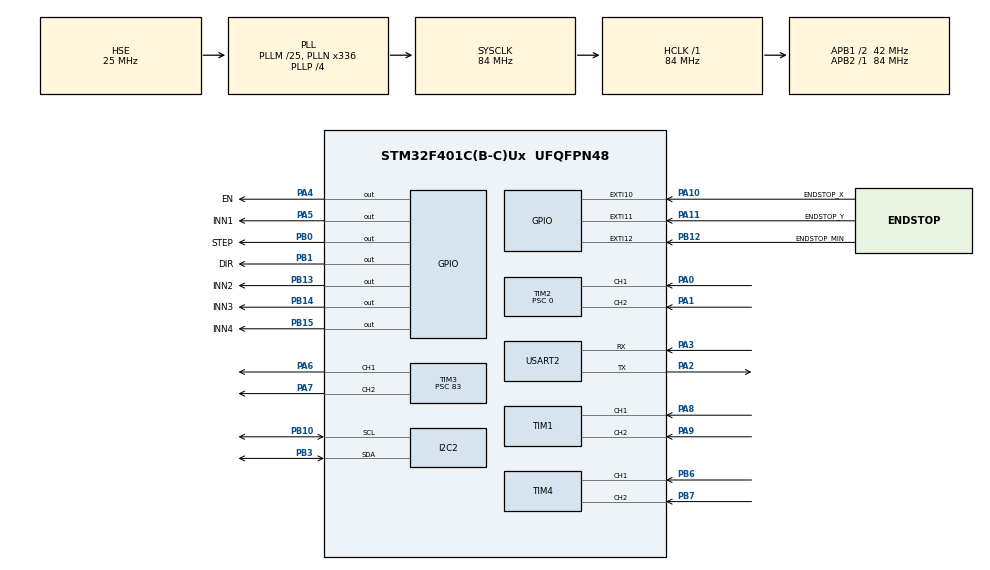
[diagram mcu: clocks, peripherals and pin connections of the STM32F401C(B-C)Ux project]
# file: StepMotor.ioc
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Dma.Request0=USART2_TX
Dma.USART2_TX.0.Direction=DMA_MEMORY_TO_PERIPH
Dma.USART2_TX.0.FIFOMode=DMA_FIFOMODE_DISABLE
Dma.USART2_TX.0.Instance=DMA1_Stream6
Dma.USART2_TX.0.MemDataAlignment=DMA_MDATAALIGN_BYTE
Dma.USART2_TX.0.MemInc=DMA_MINC_ENABLE
Dma.USART2_TX.0.Mode=DMA_NORMAL
Dma.USART2_TX.0.PeriphDataAlignment=DMA_PDATAALIGN_BYTE
Dma.USART2_TX.0.PeriphInc=DMA_PINC_DISABLE
Dma.USART2_TX.0.Priority=DMA_PRIORITY_HIGH
FREERTOS.Tasks01=defaultTask,24,128,StartDefaultTask,As weak,NULL,Dynamic,NULL,NULL;controlTask,24,512,StartControlTask,As external,NULL,Dynamic,NULL,NULL
Mcu.Family=STM32F4
Mcu.Name=STM32F401C(B-C)Ux
Mcu.Package=UFQFPN48
NVIC.DMA1_Stream6_IRQn=true\:5\:0\:false\:false\:true\:true\:false\:true\:true
NVIC.EXTI15_10_IRQn=true\:5\:0\:false\:false\:true\:true\:true\:true\:true
NVIC.PriorityGroup=NVIC_PRIORITYGROUP_4
NVIC.TIM2_IRQn=true\:5\:0\:false\:false\:true\:true\:true\:true\:true
NVIC.TIM5_IRQn=true\:5\:0\:false\:false\:true\:true\:true\:true\:true
NVIC.USART2_IRQn=true\:5\:0\:false\:false\:true\:true\:true\:true\:true
PA0-WKUP.Signal=S_TIM2_CH1_ETR
PA1.Signal=S_TIM2_CH2
PA10.GPIO_Label=ENDSTOP_X
PA10.GPIO_ModeDefaultEXTI=GPIO_MODE_IT_RISING_FALLING
PA10.GPIO_PuPd=GPIO_PULLUP
PA10.Signal=GPXTI10
PA11.GPIO_Label=ENDSTOP_Y
PA11.GPIO_ModeDefaultEXTI=GPIO_MODE_IT_RISING_FALLING
PA11.GPIO_PuPd=GPIO_PULLUP
PA11.Signal=GPXTI11
PA13.Mode=Serial_Wire
PA13.Signal=SYS_JTMS-SWDIO
PA14.Mode=Serial_Wire
PA14.Signal=SYS_JTCK-SWCLK
PA2.Mode=Asynchronous
PA2.Signal=USART2_TX
PA3.Mode=Asynchronous
PA3.Signal=USART2_RX
PA4.GPIO_Label=EN
PA4.GPIO_Speed=GPIO_SPEED_FREQ_VERY_HIGH
PA4.PinState=GPIO_PIN_SET
PA4.Signal=GPIO_Output
PA5.GPIO_Label=INN1
PA5.GPIO_Speed=GPIO_SPEED_FREQ_VERY_HIGH
PA5.Signal=GPIO_Output
PA6.Signal=S_TIM3_CH1
PA7.Signal=S_TIM3_CH2
PA8.Signal=S_TIM1_CH1
PA9.Signal=S_TIM1_CH2
PB0.GPIO_Label=STEP
PB0.GPIO_Speed=GPIO_SPEED_FREQ_VERY_HIGH
PB0.Signal=GPIO_Output
PB1.GPIO_Label=DIR
PB1.GPIO_Speed=GPIO_SPEED_FREQ_VERY_HIGH
PB1.Signal=GPIO_Output
PB10.Mode=I2C
PB10.Signal=I2C2_SCL
PB12.GPIO_Label=ENDSTOP_MIN
PB12.GPIO_ModeDefaultEXTI=GPIO_MODE_IT_RISING_FALLING
PB12.GPIO_PuPd=GPIO_PULLUP
PB12.Signal=GPXTI12
PB13.GPIO_Label=INN2
PB13.GPIO_Speed=GPIO_SPEED_FREQ_VERY_HIGH
PB13.Signal=GPIO_Output
PB14.GPIO_Label=INN3
PB14.GPIO_Speed=GPIO_SPEED_FREQ_VERY_HIGH
PB14.Signal=GPIO_Output
PB15.GPIO_Label=INN4
PB15.GPIO_Speed=GPIO_SPEED_FREQ_VERY_HIGH
PB15.PinState=GPIO_PIN_RESET
PB15.Signal=GPIO_Output
PB3.Mode=I2C
PB3.Signal=I2C2_SDA
PB6.Signal=S_TIM4_CH1
PB7.Signal=S_TIM4_CH2
PH0\ -\ OSC_IN.Mode=HSE-External-Oscillator
PH0\ -\ OSC_IN.Signal=RCC_OSC_IN
PH1\ -\ OSC_OUT.Mode=HSE-External-Oscillator
PH1\ -\ OSC_OUT.Signal=RCC_OSC_OUT
ProjectManager.HeapSize=0x200
ProjectManager.StackSize=0x400
ProjectManager.TargetToolchain=STM32CubeIDE
RCC.48MHZClocksFreq_Value=84000000
RCC.AHBFreq_Value=84000000
RCC.APB1CLKDivider=RCC_HCLK_DIV2
RCC.APB1Freq_Value=42000000
RCC.APB1TimFreq_Value=84000000
RCC.APB2Freq_Value=84000000
RCC.APB2TimFreq_Value=84000000
RCC.CortexFreq_Value=84000000
RCC.HCLKFreq_Value=84000000
RCC.HSE_VALUE=25000000
RCC.HSI_VALUE=16000000
RCC.LSE_VALUE=32768
RCC.PLLM=25
RCC.PLLN=336
RCC.PLLP=RCC_PLLP_DIV4
RCC.PLLSourceVirtual=RCC_PLLSOURCE_HSE
RCC.SYSCLKFreq_VALUE=84000000
RCC.SYSCLKSource=RCC_SYSCLKSOURCE_PLLCLK
RCC.VCOOutputFreq_Value=336000000
SH.S_TIM1_CH1.0=TIM1_CH1,Encoder_Interface
SH.S_TIM1_CH2.0=TIM1_CH2,Encoder_Interface
SH.S_TIM2_CH1_ETR.0=TIM2_CH1,Encoder_Interface
SH.S_TIM2_CH2.0=TIM2_CH2,Encoder_Interface
SH.S_TIM3_CH1.0=TIM3_CH1,PWM Generation1 CH1
SH.S_TIM3_CH2.0=TIM3_CH2,PWM Generation2 CH2
SH.S_TIM4_CH1.0=TIM4_CH1,Encoder_Interface
SH.S_TIM4_CH2.0=TIM4_CH2,Encoder_Interface
TIM1.EncoderMode=TIM_ENCODERMODE_TI12
TIM1.IC1Filter=6
TIM1.IC2Filter=6
TIM2.EncoderMode=TIM_ENCODERMODE_TI12
TIM2.IC1Filter=6
TIM2.Period=65535
TIM2.Prescaler=0
TIM3.Channel-PWM\ Generation1\ CH1=TIM_CHANNEL_1
TIM3.Channel-PWM\ Generation2\ CH2=TIM_CHANNEL_2
TIM3.Period=99
TIM3.Prescaler=83
TIM4.EncoderMode=TIM_ENCODERMODE_TI12
TIM4.IC1Filter=6
TIM4.IC2Filter=6
TIM5.Period=49
TIM5.Prescaler=83
USART2.VirtualMode=VM_ASYNC
VP_FREERTOS_VS_CMSIS_V2.Mode=CMSIS_V2
VP_TIM5_VS_ClockSourceINT.Mode=Internal
board=custom

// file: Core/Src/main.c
/* USER CODE BEGIN Header */
/**
  ******************************************************************************
  * @file           : main.c
  * @brief          : Main program body
  ******************************************************************************
  * @attention
  *
  * Copyright (c) 2026 STMicroelectronics.
  * All rights reserved.
  *
  * This software is licensed under terms that can be found in the LICENSE file
  * in the root directory of this software component.
  * If no LICENSE file comes with this software, it is provided AS-IS.
  *
  ******************************************************************************
  */
/* USER CODE END Header */
#include "main.h"
#include "cmsis_os.h"

/* USER CODE BEGIN Includes */
#include "app_control.h"
/* USER CODE END Includes */

I2C_HandleTypeDef hi2c2;

TIM_HandleTypeDef htim1;
TIM_HandleTypeDef htim2;
TIM_HandleTypeDef htim3;
TIM_HandleTypeDef htim4;
TIM_HandleTypeDef htim5;

UART_HandleTypeDef huart2;
DMA_HandleTypeDef hdma_usart2_tx;

/* Definitions for defaultTask */
osThreadId_t defaultTaskHandle;
const osThreadAttr_t defaultTask_attributes = {
  .name = "defaultTask",
  .stack_size = 128 * 4,
  .priority = (osPriority_t) osPriorityNormal,
};
/* Definitions for controlTask */
osThreadId_t controlTaskHandle;
const osThreadAttr_t controlTask_attributes = {
  .name = "controlTask",
  .stack_size = 512 * 4,
  .priority = (osPriority_t) osPriorityNormal,
};

void SystemClock_Config(void);
static void MX_GPIO_Init(void);
static void MX_DMA_Init(void);
static void MX_TIM2_Init(void);
static void MX_USART2_UART_Init(void);
static void MX_TIM3_Init(void);
static void MX_TIM5_Init(void);
static void MX_I2C2_Init(void);
static void MX_TIM4_Init(void);
static void MX_TIM1_Init(void);
void StartDefaultTask(void *argument);
extern void StartControlTask(void *argument);

int main(void)
{

  /* MCU Configuration--------------------------------------------------------*/

  /* Reset of all peripherals, Initializes the Flash interface and the Systick. */
  HAL_Init();

  /* Configure the system clock */
  SystemClock_Config();

  /* Initialize all configured peripherals */
  MX_GPIO_Init();
  MX_DMA_Init();
  MX_TIM2_Init();
  MX_USART2_UART_Init();
  MX_TIM3_Init();
  MX_TIM5_Init();
  MX_I2C2_Init();
  MX_TIM4_Init();
  MX_TIM1_Init();

  /* Init scheduler */
  osKernelInitialize();

  /* Create the thread(s) */
  /* creation of defaultTask */
  defaultTaskHandle = osThreadNew(StartDefaultTask, NULL, &defaultTask_attributes);

  /* creation of controlTask */
  controlTaskHandle = osThreadNew(StartControlTask, NULL, &controlTask_attributes);

  /* Start scheduler */
  osKernelStart();

  /* We should never get here as control is now taken by the scheduler */

  /* Infinite loop */
  while (1)
  {

  }
}

void SystemClock_Config(void)
{
  RCC_OscInitTypeDef RCC_OscInitStruct = {0};
  RCC_ClkInitTypeDef RCC_ClkInitStruct = {0};

  /** Configure the main internal regulator output voltage
  */
  __HAL_RCC_PWR_CLK_ENABLE();
  __HAL_PWR_VOLTAGESCALING_CONFIG(PWR_REGULATOR_VOLTAGE_SCALE2);

  /** Initializes the RCC Oscillators according to the specified parameters
  * in the RCC_OscInitTypeDef structure.
  */
  RCC_OscInitStruct.OscillatorType = RCC_OSCILLATORTYPE_HSE;
  RCC_OscInitStruct.HSEState = RCC_HSE_ON;
  RCC_OscInitStruct.PLL.PLLState = RCC_PLL_ON;
  RCC_OscInitStruct.PLL.PLLSource = RCC_PLLSOURCE_HSE;
  RCC_OscInitStruct.PLL.PLLM = 25;
  RCC_OscInitStruct.PLL.PLLN = 336;
  RCC_OscInitStruct.PLL.PLLP = RCC_PLLP_DIV4;
  RCC_OscInitStruct.PLL.PLLQ = 4;
  if (HAL_RCC_OscConfig(&RCC_OscInitStruct) != HAL_OK)
  {
    Error_Handler();
  }

  /** Initializes the CPU, AHB and APB buses clocks
  */
  RCC_ClkInitStruct.ClockType = RCC_CLOCKTYPE_HCLK|RCC_CLOCKTYPE_SYSCLK
                              |RCC_CLOCKTYPE_PCLK1|RCC_CLOCKTYPE_PCLK2;
  RCC_ClkInitStruct.SYSCLKSource = RCC_SYSCLKSOURCE_PLLCLK;
  RCC_ClkInitStruct.AHBCLKDivider = RCC_SYSCLK_DIV1;
  RCC_ClkInitStruct.APB1CLKDivider = RCC_HCLK_DIV2;
  RCC_ClkInitStruct.APB2CLKDivider = RCC_HCLK_DIV1;

  if (HAL_RCC_ClockConfig(&RCC_ClkInitStruct, FLASH_LATENCY_2) != HAL_OK)
  {
    Error_Handler();
  }
}

static void MX_I2C2_Init(void)
{

  hi2c2.Instance = I2C2;
  hi2c2.Init.ClockSpeed = 100000;
  hi2c2.Init.DutyCycle = I2C_DUTYCYCLE_2;
  hi2c2.Init.OwnAddress1 = 0;
  hi2c2.Init.AddressingMode = I2C_ADDRESSINGMODE_7BIT;
  hi2c2.Init.DualAddressMode = I2C_DUALADDRESS_DISABLE;
  hi2c2.Init.OwnAddress2 = 0;
  hi2c2.Init.GeneralCallMode = I2C_GENERALCALL_DISABLE;
  hi2c2.Init.NoStretchMode = I2C_NOSTRETCH_DISABLE;
  if (HAL_I2C_Init(&hi2c2) != HAL_OK)
  {
    Error_Handler();
  }

}

static void MX_TIM1_Init(void)
{

  TIM_Encoder_InitTypeDef sConfig = {0};
  TIM_MasterConfigTypeDef sMasterConfig = {0};

  htim1.Instance = TIM1;
  htim1.Init.Prescaler = 0;
  htim1.Init.CounterMode = TIM_COUNTERMODE_UP;
  htim1.Init.Period = 65535;
  htim1.Init.ClockDivision = TIM_CLOCKDIVISION_DIV1;
  htim1.Init.RepetitionCounter = 0;
  htim1.Init.AutoReloadPreload = TIM_AUTORELOAD_PRELOAD_DISABLE;
  sConfig.EncoderMode = TIM_ENCODERMODE_TI12;
  sConfig.IC1Polarity = TIM_ICPOLARITY_RISING;
  sConfig.IC1Selection = TIM_ICSELECTION_DIRECTTI;
  sConfig.IC1Prescaler = TIM_ICPSC_DIV1;
  sConfig.IC1Filter = 6;
  sConfig.IC2Polarity = TIM_ICPOLARITY_RISING;
  sConfig.IC2Selection = TIM_ICSELECTION_DIRECTTI;
  sConfig.IC2Prescaler = TIM_ICPSC_DIV1;
  sConfig.IC2Filter = 6;
  if (HAL_TIM_Encoder_Init(&htim1, &sConfig) != HAL_OK)
  {
    Error_Handler();
  }
  sMasterConfig.MasterOutputTrigger = TIM_TRGO_RESET;
  sMasterConfig.MasterSlaveMode = TIM_MASTERSLAVEMODE_DISABLE;
  if (HAL_TIMEx_MasterConfigSynchronization(&htim1, &sMasterConfig) != HAL_OK)
  {
    Error_Handler();
  }

}

static void MX_TIM2_Init(void)
{

  TIM_Encoder_InitTypeDef sConfig = {0};
  TIM_MasterConfigTypeDef sMasterConfig = {0};

  htim2.Instance = TIM2;
  htim2.Init.Prescaler = 0;
  htim2.Init.CounterMode = TIM_COUNTERMODE_UP;
  htim2.Init.Period = 65535;
  htim2.Init.ClockDivision = TIM_CLOCKDIVISION_DIV1;
  htim2.Init.AutoReloadPreload = TIM_AUTORELOAD_PRELOAD_DISABLE;
  sConfig.EncoderMode = TIM_ENCODERMODE_TI12;
  sConfig.IC1Polarity = TIM_ICPOLARITY_RISING;
  sConfig.IC1Selection = TIM_ICSELECTION_DIRECTTI;
  sConfig.IC1Prescaler = TIM_ICPSC_DIV1;
  sConfig.IC1Filter = 6;
  sConfig.IC2Polarity = TIM_ICPOLARITY_RISING;
  sConfig.IC2Selection = TIM_ICSELECTION_DIRECTTI;
  sConfig.IC2Prescaler = TIM_ICPSC_DIV1;
  sConfig.IC2Filter = 0;
  if (HAL_TIM_Encoder_Init(&htim2, &sConfig) != HAL_OK)
  {
    Error_Handler();
  }
  sMasterConfig.MasterOutputTrigger = TIM_TRGO_RESET;
  sMasterConfig.MasterSlaveMode = TIM_MASTERSLAVEMODE_DISABLE;
  if (HAL_TIMEx_MasterConfigSynchronization(&htim2, &sMasterConfig) != HAL_OK)
  {
    Error_Handler();
  }

}

static void MX_TIM3_Init(void)
{

  TIM_MasterConfigTypeDef sMasterConfig = {0};
  TIM_OC_InitTypeDef sConfigOC = {0};

  htim3.Instance = TIM3;
  htim3.Init.Prescaler = 83;
  htim3.Init.CounterMode = TIM_COUNTERMODE_UP;
  htim3.Init.Period = 99;
  htim3.Init.ClockDivision = TIM_CLOCKDIVISION_DIV1;
  htim3.Init.AutoReloadPreload = TIM_AUTORELOAD_PRELOAD_DISABLE;
  if (HAL_TIM_PWM_Init(&htim3) != HAL_OK)
  {
    Error_Handler();
  }
  sMasterConfig.MasterOutputTrigger = TIM_TRGO_RESET;
  sMasterConfig.MasterSlaveMode = TIM_MASTERSLAVEMODE_DISABLE;
  if (HAL_TIMEx_MasterConfigSynchronization(&htim3, &sMasterConfig) != HAL_OK)
  {
    Error_Handler();
  }
  sConfigOC.OCMode = TIM_OCMODE_PWM1;
  sConfigOC.Pulse = 0;
  sConfigOC.OCPolarity = TIM_OCPOLARITY_HIGH;
  sConfigOC.OCFastMode = TIM_OCFAST_DISABLE;
  if (HAL_TIM_PWM_ConfigChannel(&htim3, &sConfigOC, TIM_CHANNEL_1) != HAL_OK)
  {
    Error_Handler();
  }
  if (HAL_TIM_PWM_ConfigChannel(&htim3, &sConfigOC, TIM_CHANNEL_2) != HAL_OK)
  {
    Error_Handler();
  }
  HAL_TIM_MspPostInit(&htim3);

}

static void MX_TIM4_Init(void)
{

  TIM_Encoder_InitTypeDef sConfig = {0};
  TIM_MasterConfigTypeDef sMasterConfig = {0};

  htim4.Instance = TIM4;
  htim4.Init.Prescaler = 0;
  htim4.Init.CounterMode = TIM_COUNTERMODE_UP;
  htim4.Init.Period = 65535;
  htim4.Init.ClockDivision = TIM_CLOCKDIVISION_DIV1;
  htim4.Init.AutoReloadPreload = TIM_AUTORELOAD_PRELOAD_DISABLE;
  sConfig.EncoderMode = TIM_ENCODERMODE_TI12;
  sConfig.IC1Polarity = TIM_ICPOLARITY_RISING;
  sConfig.IC1Selection = TIM_ICSELECTION_DIRECTTI;
  sConfig.IC1Prescaler = TIM_ICPSC_DIV1;
  sConfig.IC1Filter = 6;
  sConfig.IC2Polarity = TIM_ICPOLARITY_RISING;
  sConfig.IC2Selection = TIM_ICSELECTION_DIRECTTI;
  sConfig.IC2Prescaler = TIM_ICPSC_DIV1;
  sConfig.IC2Filter = 6;
  if (HAL_TIM_Encoder_Init(&htim4, &sConfig) != HAL_OK)
  {
    Error_Handler();
  }
  sMasterConfig.MasterOutputTrigger = TIM_TRGO_RESET;
  sMasterConfig.MasterSlaveMode = TIM_MASTERSLAVEMODE_DISABLE;
  if (HAL_TIMEx_MasterConfigSynchronization(&htim4, &sMasterConfig) != HAL_OK)
  {
    Error_Handler();
  }

}

static void MX_TIM5_Init(void)
{

  TIM_ClockConfigTypeDef sClockSourceConfig = {0};
  TIM_MasterConfigTypeDef sMasterConfig = {0};

  htim5.Instance = TIM5;
  htim5.Init.Prescaler = 83;
  htim5.Init.CounterMode = TIM_COUNTERMODE_UP;
  htim5.Init.Period = 49;
  htim5.Init.ClockDivision = TIM_CLOCKDIVISION_DIV1;
  htim5.Init.AutoReloadPreload = TIM_AUTORELOAD_PRELOAD_DISABLE;
  if (HAL_TIM_Base_Init(&htim5) != HAL_OK)
  {
    Error_Handler();
  }
  sClockSourceConfig.ClockSource = TIM_CLOCKSOURCE_INTERNAL;
  if (HAL_TIM_ConfigClockSource(&htim5, &sClockSourceConfig) != HAL_OK)
  {
    Error_Handler();
  }
  sMasterConfig.MasterOutputTrigger = TIM_TRGO_RESET;
  sMasterConfig.MasterSlaveMode = TIM_MASTERSLAVEMODE_DISABLE;
  if (HAL_TIMEx_MasterConfigSynchronization(&htim5, &sMasterConfig) != HAL_OK)
  {
    Error_Handler();
  }

}

static void MX_USART2_UART_Init(void)
{

  huart2.Instance = USART2;
  huart2.Init.BaudRate = 115200;
  huart2.Init.WordLength = UART_WORDLENGTH_8B;
  huart2.Init.StopBits = UART_STOPBITS_1;
  huart2.Init.Parity = UART_PARITY_NONE;
  huart2.Init.Mode = UART_MODE_TX_RX;
  huart2.Init.HwFlowCtl = UART_HWCONTROL_NONE;
  huart2.Init.OverSampling = UART_OVERSAMPLING_16;
  if (HAL_UART_Init(&huart2) != HAL_OK)
  {
    Error_Handler();
  }

}

static void MX_DMA_Init(void)
{

  /* DMA controller clock enable */
  __HAL_RCC_DMA1_CLK_ENABLE();

  /* DMA interrupt init */
  /* DMA1_Stream6_IRQn interrupt configuration */
  HAL_NVIC_SetPriority(DMA1_Stream6_IRQn, 5, 0);
  HAL_NVIC_EnableIRQ(DMA1_Stream6_IRQn);

}

static void MX_GPIO_Init(void)
{
  GPIO_InitTypeDef GPIO_InitStruct = {0};

  /* GPIO Ports Clock Enable */
  __HAL_RCC_GPIOH_CLK_ENABLE();
  __HAL_RCC_GPIOA_CLK_ENABLE();
  __HAL_RCC_GPIOB_CLK_ENABLE();

  /*Configure GPIO pin Output Level */
  HAL_GPIO_WritePin(EN_GPIO_Port, EN_Pin, GPIO_PIN_SET);

  /*Configure GPIO pin Output Level */
  HAL_GPIO_WritePin(INN1_GPIO_Port, INN1_Pin, GPIO_PIN_RESET);

  /*Configure GPIO pin Output Level */
  HAL_GPIO_WritePin(GPIOB, STEP_Pin|DIR_Pin|INN2_Pin|INN3_Pin
                          |INN4_Pin, GPIO_PIN_RESET);

  /*Configure GPIO pins : EN_Pin INN1_Pin */
  GPIO_InitStruct.Pin = EN_Pin|INN1_Pin;
  GPIO_InitStruct.Mode = GPIO_MODE_OUTPUT_PP;
  GPIO_InitStruct.Pull = GPIO_NOPULL;
  GPIO_InitStruct.Speed = GPIO_SPEED_FREQ_VERY_HIGH;
  HAL_GPIO_Init(GPIOA, &GPIO_InitStruct);

  /*Configure GPIO pins : STEP_Pin DIR_Pin INN2_Pin INN3_Pin
                           INN4_Pin */
  GPIO_InitStruct.Pin = STEP_Pin|DIR_Pin|INN2_Pin|INN3_Pin
                          |INN4_Pin;
  GPIO_InitStruct.Mode = GPIO_MODE_OUTPUT_PP;
  GPIO_InitStruct.Pull = GPIO_NOPULL;
  GPIO_InitStruct.Speed = GPIO_SPEED_FREQ_VERY_HIGH;
  HAL_GPIO_Init(GPIOB, &GPIO_InitStruct);

  /*Configure GPIO pin : ENDSTOP_MIN_Pin */
  GPIO_InitStruct.Pin = ENDSTOP_MIN_Pin;
  GPIO_InitStruct.Mode = GPIO_MODE_IT_RISING_FALLING;
  GPIO_InitStruct.Pull = GPIO_PULLUP;
  HAL_GPIO_Init(ENDSTOP_MIN_GPIO_Port, &GPIO_InitStruct);

  /*Configure GPIO pins : ENDSTOP_X_Pin ENDSTOP_Y_Pin */
  GPIO_InitStruct.Pin = ENDSTOP_X_Pin|ENDSTOP_Y_Pin;
  GPIO_InitStruct.Mode = GPIO_MODE_IT_RISING_FALLING;
  GPIO_InitStruct.Pull = GPIO_PULLUP;
  HAL_GPIO_Init(GPIOA, &GPIO_InitStruct);

  /* EXTI interrupt init*/
  HAL_NVIC_SetPriority(EXTI15_10_IRQn, 5, 0);
  HAL_NVIC_EnableIRQ(EXTI15_10_IRQn);

}

/* USER CODE BEGIN 4 */
void HAL_TIM_PeriodElapsedCallback(TIM_HandleTypeDef *htim)
{
  if (htim->Instance == TIM5) {
    AppControl_OnTimerTickISR();
  }
}

void HAL_UART_RxCpltCallback(UART_HandleTypeDef *huart)
{
  if (huart->Instance == USART2) {
    AppControl_OnRxCpltISR();
  }
}

void HAL_UART_TxCpltCallback(UART_HandleTypeDef *huart)
{
  if (huart->Instance == USART2) {
    AppControl_OnTxCpltISR(huart);
  }
}

void HAL_GPIO_EXTI_Callback(uint16_t GPIO_Pin)
{
  AppControl_OnEndstopEdgeISR(GPIO_Pin);
}
/* USER CODE END 4 */

__weak void StartDefaultTask(void *argument)
{
  for(;;)
  {
    osDelay(1);
  }
}

void Error_Handler(void)
{
  __disable_irq();
  while (1)
  {
  }
}

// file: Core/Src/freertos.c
/* USER CODE BEGIN Header */
/**
  ******************************************************************************
  * File Name          : freertos.c
  * Description        : Code for __freertos__ applications
  ******************************************************************************
  */
/* USER CODE END Header */

#include "FreeRTOS.h"
#include "task.h"
#include "main.h"

/* USER CODE BEGIN Includes */
#include "app_control.h"
/* USER CODE END Includes */

/* USER CODE BEGIN Variables */
extern TIM_HandleTypeDef htim2;
extern TIM_HandleTypeDef htim3;
extern TIM_HandleTypeDef htim1;
extern TIM_HandleTypeDef htim5;
extern UART_HandleTypeDef huart2;
extern I2C_HandleTypeDef hi2c2;
#define APP_CONTROL_TIMER_TICK_HZ 20000U

/* USER CODE END Variables */

/* USER CODE BEGIN FunctionPrototypes */
void StartDefaultTask(void *argument);
void StartControlTask(void *argument);
/* USER CODE END FunctionPrototypes */

/* USER CODE BEGIN Application */
void StartDefaultTask(void *argument)
{
  (void)argument;
  for(;;)
  {
    osDelay(1);
  }
}

void StartControlTask(void *argument)
{
  (void)argument;

  AppControl_Init(&huart2, &htim5, &htim3, &htim2, &htim1, &hi2c2, APP_CONTROL_TIMER_TICK_HZ);
  AppControl_Start();
  AppControl_SetControlTaskHandle(xTaskGetCurrentTaskHandle());

  uint32_t lastTickMs = HAL_GetTick();

  for (;;)
  {
    /* Chờ notification tối đa 1ms */
    ulTaskNotifyTake(pdTRUE, pdMS_TO_TICKS(1));

    uint32_t now = HAL_GetTick();
    if ((int32_t)(now - lastTickMs) >= 1)
    {
      lastTickMs = now;
      AppControl_Task1ms();
    }
    else
    {
      /* Notification đến trước 1ms: xử lý task nhẹ (không tăng ping counter) */
      AppControl_Task();
    }
  }
}
/* USER CODE END Application */
